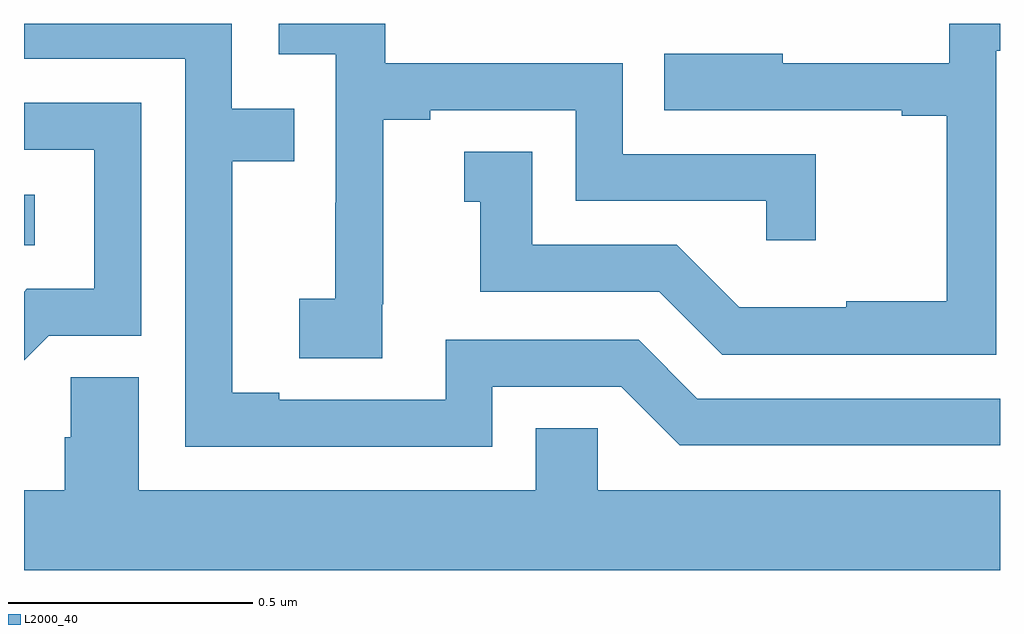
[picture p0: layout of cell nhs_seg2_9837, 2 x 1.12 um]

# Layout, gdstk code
import gdstk
lib = gdstk.Library(unit=1e-6, precision=1e-09)
def R(c, l, rs):  # rectangles x0, y0, x1, y1
    for r in rs: c.add(gdstk.rectangle(r[:2], r[2:], *l))
def P(c, l, *ps):  # polygons
    for p in ps: c.add(gdstk.Polygon(p, *l))
L2000_40 = (2000, 40)

nhs_seg2_9837 = lib.new_cell('nhs_seg2_9837')
R(nhs_seg2_9837, L2000_40, [(234,604.346,234.022,604.45)])
P(nhs_seg2_9837, L2000_40, [(235.992,604.745),(236,604.745),(236,604.8),(235.896,604.8),(235.896,604.719),(235.555,604.719),(235.555,604.738),(235.312,604.738),(235.312,604.623),(235.799,604.623),(235.799,604.611),(235.891,604.611),(235.891,604.231),(235.685,604.231),(235.685,604.219),(235.466,604.219),(235.338,604.347),(235.042,604.347),(235.042,604.538),(234.902,604.538),(234.902,604.435),(234.935,604.435),(234.935,604.251),(235.302,604.251),(235.431,604.122),(235.992,604.122)],
  [(234.96,604.056),(235.224,604.056),(235.344,603.936),(236,603.936),(236,604.032),(235.38,604.032),(235.26,604.152),(234.864,604.152),(234.864,604.029),(234.523,604.029),(234.523,604.044),(234.427,604.044),(234.427,604.518),(234.554,604.518),(234.554,604.626),(234.426,604.626),(234.426,604.8),(234,604.8),(234,604.728),(234.33,604.728),(234.33,603.933),(234.96,603.933)],
  [(234.734,604.225),(234.736,604.225),(234.736,604.603),(234.832,604.603),(234.832,604.623),(235.131,604.623),(235.131,604.437),(235.521,604.437),(235.521,604.356),(235.622,604.356),(235.622,604.533),(235.227,604.533),(235.227,604.719),(234.74,604.719),(234.74,604.8),(234.522,604.8),(234.522,604.737),(234.639,604.737),(234.639,604.433),(234.638,604.433),(234.638,604.236),(234.564,604.236),(234.564,604.114),(234.734,604.114)],
  [(234.051,604.161),(234.24,604.161),(234.24,604.638),(234,604.638),(234,604.542),(234.144,604.542),(234.144,604.257),(234.006,604.257),(234,604.251),(234,604.11)],
  [(236,603.844),(235.176,603.844),(235.176,603.971),(235.049,603.971),(235.049,603.844),(234.235,603.844),(234.235,604.076),(234.096,604.076),(234.096,603.953),(234.083,603.953),(234.083,603.844),(234,603.844),(234,603.68),(236,603.68)])

lib.write_gds('nhs_seg2_9837.gds')
